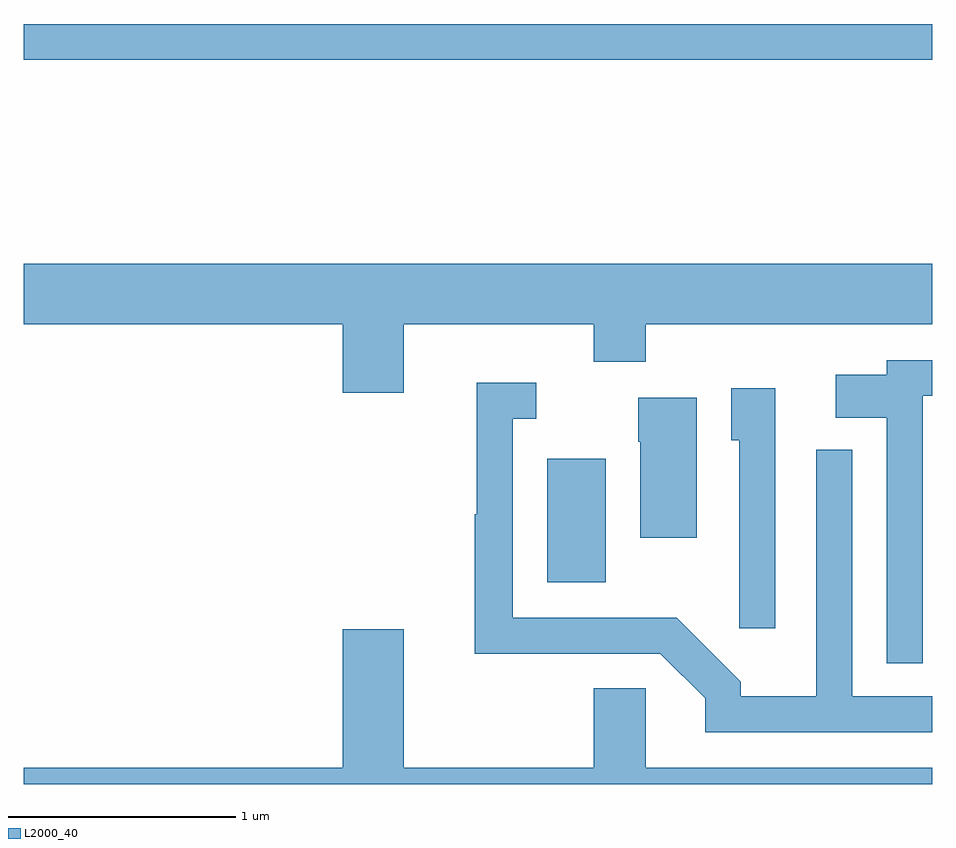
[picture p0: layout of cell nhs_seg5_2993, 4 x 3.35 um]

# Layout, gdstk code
import gdstk
lib = gdstk.Library(unit=1e-6, precision=1e-09)
def R(c, l, rs):  # rectangles x0, y0, x1, y1
    for r in rs: c.add(gdstk.rectangle(r[:2], r[2:], *l))
def P(c, l, *ps):  # polygons
    for p in ps: c.add(gdstk.Polygon(p, *l))
L2000_40 = (2000, 40)

nhs_seg5_2993 = lib.new_cell('nhs_seg5_2993')
R(nhs_seg5_2993, L2000_40, [(275.916,1488.961,276.174,1489.504), (273.611,1491.261,277.611,1491.419)])
P(nhs_seg5_2993, L2000_40, [(275.284,1490.096),(276.121,1490.096),(276.121,1489.931),(276.349,1489.931),(276.349,1490.096),(277.611,1490.096),(277.611,1490.364),(273.611,1490.364),(273.611,1490.096),(275.016,1490.096),(275.016,1489.796),(275.284,1489.796)],
  [(277.569,1489.781),(277.611,1489.781),(277.611,1489.939),(277.411,1489.939),(277.411,1489.874),(277.186,1489.874),(277.186,1489.686),(277.411,1489.686),(277.411,1488.603),(277.569,1488.603)],
  [(277.611,1488.459),(277.259,1488.459),(277.259,1489.543),(277.101,1489.543),(277.101,1488.459),(276.769,1488.459),(276.769,1488.522),(276.487,1488.804),(275.764,1488.804),(275.764,1489.681),(275.868,1489.681),(275.868,1489.839),(275.606,1489.839),(275.606,1489.26),(275.596,1489.26),(275.596,1488.646),(276.414,1488.646),(276.611,1488.449),(276.611,1488.301),(277.611,1488.301)],
  [(276.919,1489.814),(276.726,1489.814),(276.726,1489.586),(276.761,1489.586),(276.761,1488.758),(276.919,1488.758)],
  [(276.574,1489.774),(276.316,1489.774),(276.316,1489.58),(276.326,1489.58),(276.326,1489.156),(276.574,1489.156)],
  [(277.611,1488.144),(276.349,1488.144),(276.349,1488.494),(276.121,1488.494),(276.121,1488.144),(275.284,1488.144),(275.284,1488.754),(275.016,1488.754),(275.016,1488.144),(273.611,1488.144),(273.611,1488.072),(277.611,1488.072)])

lib.write_gds('nhs_seg5_2993.gds')
